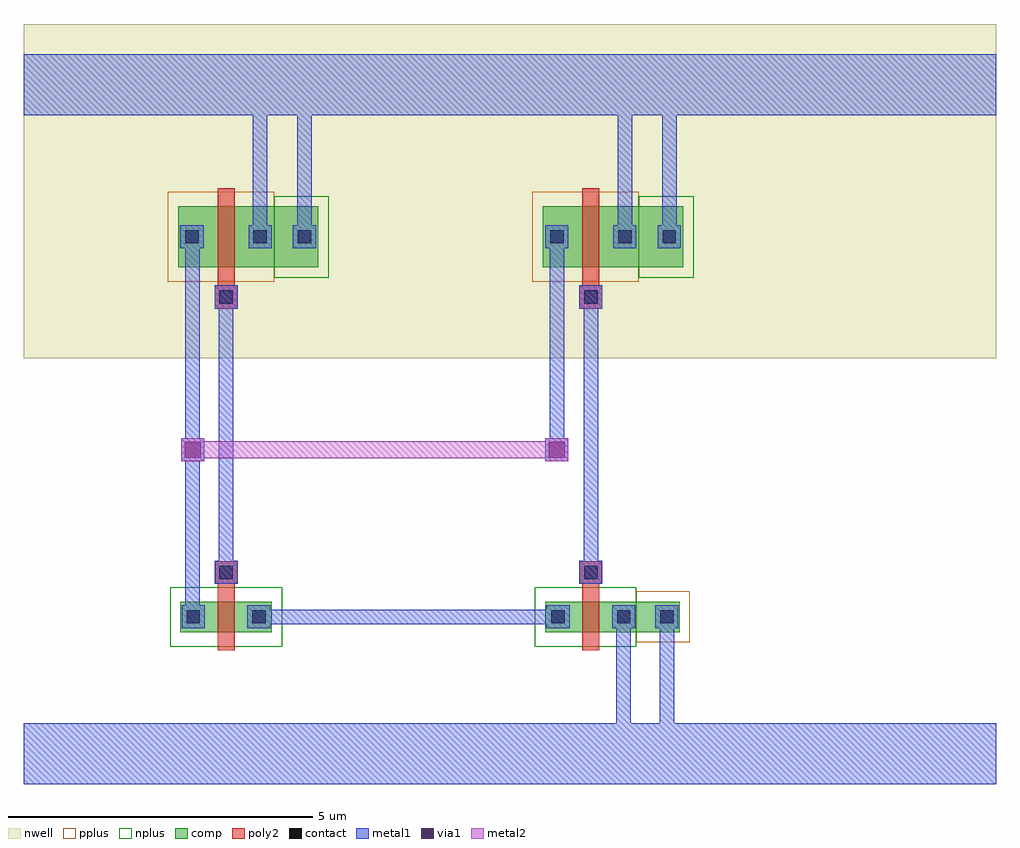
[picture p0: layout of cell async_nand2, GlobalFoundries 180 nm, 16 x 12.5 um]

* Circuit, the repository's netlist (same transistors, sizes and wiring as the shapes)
* Extracted by KLayout with GF180MCU LVS runset on : 27/08/2026 09:39

.SUBCKT async_nand2 output input_A input_B VDD VSS
M$1 VDD input_B output VDD pfet_03v3 L=0.28U W=1U AS=0.65P AD=0.65P PS=3.3U
+ PD=3.3U
M$2 VDD input_A output VDD pfet_03v3 L=0.28U W=1U AS=0.65P AD=0.65P PS=3.3U
+ PD=3.3U
M$3 VSS input_B \$4 VSS nfet_03v3 L=0.28U W=0.5U AS=0.305P AD=0.305P PS=2.22U
+ PD=2.22U
M$4 \$4 input_A output VSS nfet_03v3 L=0.28U W=0.5U AS=0.305P AD=0.305P
+ PS=2.22U PD=2.22U
.ENDS async_nand2

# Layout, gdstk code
import gdstk
lib = gdstk.Library(unit=1e-6, precision=1e-09)
def R(c, l, rs):  # rectangles x0, y0, x1, y1
    for r in rs: c.add(gdstk.rectangle(r[:2], r[2:], *l))
nwell = (21, 0)
comp = (22, 0)
poly2 = (30, 0)
pplus = (31, 0)
nplus = (32, 0)
contact = (33, 0)
metal1 = (34, 0)
via1 = (35, 0)
metal2 = (36, 0)

gf180mcu_nfet_l_0_280_w_ = lib.new_cell('gf180mcu.nfet(L=0.280,W=1.000)')

gf180mcu_pfet_l_0_280_w_ = lib.new_cell('gf180mcu.pfet(L=0.280,W=1.000)')

async_nand2 = lib.new_cell('async_nand2')
R(async_nand2, nwell, [(0,4.5,16,10), (1.85,5.31,5.54,7.69), (7.85,5.31,11.54,7.69)])
R(async_nand2, comp, [(2.58,0,3,0.5), (3,0,3.66,0.5), (3.66,0,4.08,0.5), (8.58,0,9,0.5), (9,0,9.66,0.5), (9.66,0,10.08,0.5), (10.08,0,10.79,0.5), (2.54,6,3,7), (3,6,3.66,7), (3.66,6,4.12,7), (4.12,6,4.85,7), (8.54,6,9,7), (9,6,9.66,7), (9.66,6,10.12,7), (10.12,6,10.85,7)])
R(async_nand2, poly2, [(3.19,-0.3,3.47,0.8), (9.19,-0.3,9.47,0.8), (3.15,0.8,3.51,1.16), (9.15,0.8,9.51,1.16), (3.14,5.32,3.52,5.7), (9.14,5.32,9.52,5.7), (3.19,5.7,3.47,7.3), (9.19,5.7,9.47,7.3)])
R(async_nand2, pplus, [(10.08,-0.17,10.96,0.67), (2.37,5.76,4.12,7.24), (8.37,5.76,10.12,7.24)])
R(async_nand2, nplus, [(2.41,-0.24,4.25,0.74), (8.41,-0.24,10.08,0.74), (4.12,5.83,5.02,7.17), (10.12,5.83,11.02,7.17)])
R(async_nand2, contact, [(2.68,0.14,2.9,0.36), (3.76,0.14,3.98,0.36), (8.68,0.14,8.9,0.36), (9.76,0.14,9.98,0.36), (10.47,0.14,10.69,0.36), (3.22,0.87,3.44,1.09), (9.22,0.87,9.44,1.09), (3.22,5.4,3.44,5.62), (9.22,5.4,9.44,5.62), (2.66,6.39,2.88,6.61), (3.78,6.39,4,6.61), (4.51,6.39,4.73,6.61), (8.66,6.39,8.88,6.61), (9.78,6.39,10,6.61), (10.51,6.39,10.73,6.61)])
R(async_nand2, metal1, [(0,-2.5,16,-1.5), (9.75,-2.5,9.99,0.25), (10.46,-2.5,10.7,0.25), (2.6,0.06,2.98,0.44), (3.68,0.06,4.06,0.44), (8.6,0.06,8.98,0.44), (9.68,0.06,10.06,0.44), (10.39,0.06,10.77,0.44), (3.75,0.13,8.91,0.37), (2.66,0.25,2.9,6.5), (3.14,0.79,3.52,1.17), (9.14,0.79,9.52,1.17), (3.21,0.98,3.45,5.51), (9.21,0.98,9.45,5.51), (2.59,2.81,2.97,3.19), (8.58,2.81,8.96,3.19), (8.65,3,8.89,6.5), (3.14,5.32,3.52,5.7), (9.14,5.32,9.52,5.7), (2.58,6.31,2.96,6.69), (3.7,6.31,4.08,6.69), (4.43,6.31,4.81,6.69), (8.58,6.31,8.96,6.69), (9.7,6.31,10.08,6.69), (10.43,6.31,10.81,6.69), (3.77,6.5,4.01,9.5), (4.5,6.5,4.74,9.5), (9.77,6.5,10.01,9.5), (10.5,6.5,10.74,9.5), (0,8.5,16,9.5)])
R(async_nand2, via1, [(2.65,2.87,2.91,3.13), (8.64,2.87,8.9,3.13)])
R(async_nand2, metal2, [(2.59,2.81,2.97,3.19), (8.58,2.81,8.96,3.19), (2.59,2.86,8.96,3.14)])
async_nand2.add(gdstk.Reference(gf180mcu_nfet_l_0_280_w_, (0,0)))
async_nand2.add(gdstk.Reference(gf180mcu_pfet_l_0_280_w_, (0,0)))

lib.write_gds('async_nand2.gds')
